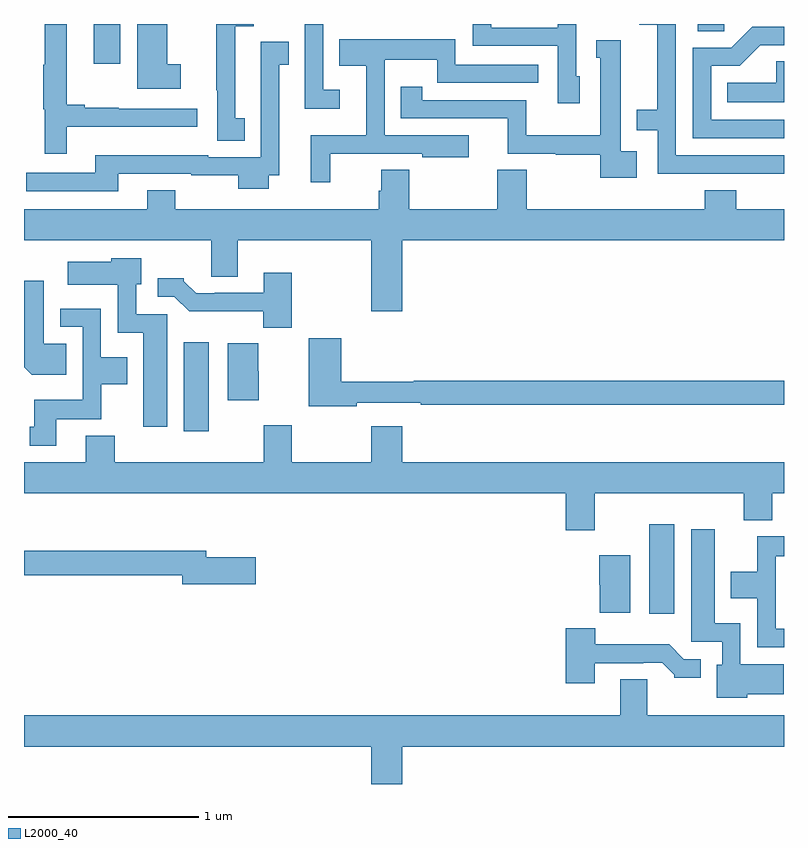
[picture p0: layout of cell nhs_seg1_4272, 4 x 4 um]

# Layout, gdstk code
import gdstk
lib = gdstk.Library(unit=1e-6, precision=1e-09)
def R(c, l, rs):  # rectangles x0, y0, x1, y1
    for r in rs: c.add(gdstk.rectangle(r[:2], r[2:], *l))
def P(c, l, *ps):  # polygons
    for p in ps: c.add(gdstk.Polygon(p, *l))
L2000_40 = (2000, 40)

nhs_seg1_4272 = lib.new_cell('nhs_seg1_4272')
R(nhs_seg1_4272, L2000_40, [(346.292,555.096,346.423,555.565), (343.841,556.056,343.972,556.525), (343.367,557.991,343.507,558.199), (346.547,558.16,346.685,558.199)])
P(nhs_seg1_4272, L2000_40, [(343.825,557.988),(343.753,557.988),(343.753,558.198),(343.735,558.198),(343.735,558.199),(343.595,558.199),(343.595,557.858),(343.825,557.858)],
  [(347,557.508),(346.431,557.508),(346.431,558.199),(346.238,558.199),(346.238,558.195),(346.334,558.195),(346.334,557.749),(346.226,557.749),(346.226,557.64),(346.335,557.64),(346.335,557.412),(346.831,557.412),(346.831,557.411),(347,557.411)],
  [(345.925,557.925),(345.906,557.925),(345.906,558.199),(345.81,558.199),(345.81,558.18),(345.459,558.18),(345.459,558.199),(345.363,558.199),(345.363,558.084),(345.81,558.084),(345.81,557.781),(345.925,557.781)],
  [(344.662,557.854),(344.574,557.854),(344.574,558.199),(344.478,558.199),(344.478,557.753),(344.662,557.753)],
  [(344.162,557.703),(344.113,557.703),(344.113,558.186),(344.209,558.186),(344.209,558.199),(344.011,558.199),(344.011,557.851),(344.016,557.851),(344.016,557.584),(344.162,557.584)],
  [(343.225,557.657),(343.912,557.657),(343.912,557.754),(343.499,557.754),(343.499,557.757),(343.321,557.757),(343.321,557.774),(343.225,557.774),(343.225,558.199),(343.109,558.199),(343.109,557.984),(343.102,557.984),(343.102,557.751),(343.109,557.751),(343.109,557.517),(343.225,557.517)],
  [(347,557.694),(346.617,557.694),(346.617,557.979),(346.767,557.979),(346.875,558.087),(347,558.087),(347,558.185),(346.832,558.185),(346.722,558.075),(346.521,558.075),(346.521,557.598),(347,557.598)],
  [(344.612,557.517),(345.095,557.517),(345.095,557.498),(345.34,557.498),(345.34,557.613),(344.898,557.613),(344.898,558.011),(345.174,558.011),(345.174,557.89),(345.277,557.89),(345.277,557.889),(345.706,557.889),(345.706,557.985),(345.27,557.985),(345.27,558.118),(344.659,558.118),(344.659,557.978),(344.801,557.978),(344.801,557.614),(344.51,557.614),(344.51,557.367),(344.612,557.367)],
  [(346.225,557.53),(346.14,557.53),(346.14,557.626),(346.141,557.626),(346.141,558.114),(346.013,558.114),(346.013,558.021),(346.034,558.021),(346.034,557.614),(345.643,557.614),(345.643,557.799),(345.096,557.799),(345.096,557.869),(344.983,557.869),(344.983,557.703),(345.545,557.703),(345.545,557.517),(345.798,557.517),(345.798,557.512),(346.032,557.512),(346.032,557.39),(346.225,557.39)],
  [(343.495,557.412),(343.881,557.412),(343.881,557.402),(344.128,557.402),(344.128,557.333),(344.287,557.333),(344.287,557.403),(344.344,557.403),(344.344,557.985),(344.393,557.985),(344.393,558.106),(344.246,558.106),(344.246,557.782),(344.247,557.782),(344.247,557.499),(343.971,557.499),(343.971,557.509),(343.376,557.509),(343.376,557.415),(343.012,557.415),(343.012,557.319),(343.495,557.319)],
  [(347,558.002),(346.958,558.002),(346.958,557.89),(346.702,557.89),(346.702,557.786),(347,557.786)],
  [(344.992,557.06),(347,557.06),(347,557.224),(346.748,557.224),(346.748,557.323),(346.583,557.323),(346.583,557.224),(345.645,557.224),(345.645,557.432),(345.49,557.432),(345.49,557.224),(345.027,557.224),(345.027,557.432),(344.879,557.432),(344.879,557.322),(344.867,557.322),(344.867,557.224),(343.797,557.224),(343.797,557.323),(343.649,557.323),(343.649,557.224),(343,557.224),(343,557.06),(343.985,557.06),(343.985,556.87),(344.125,556.87),(344.125,557.06),(344.828,557.06),(344.828,556.686),(344.992,556.686)],
  [(343.753,556.671),(343.59,556.671),(343.59,556.83),(343.618,556.83),(343.618,556.966),(343.458,556.966),(343.458,556.948),(343.23,556.948),(343.23,556.826),(343.494,556.826),(343.494,556.574),(343.628,556.574),(343.628,556.08),(343.753,556.08)],
  [(344.409,556.891),(344.261,556.891),(344.261,556.785),(344.005,556.785),(344.005,556.782),(343.906,556.782),(343.842,556.846),(343.842,556.861),(343.703,556.861),(343.703,556.764),(343.791,556.764),(343.87,556.686),(344.259,556.686),(344.259,556.601),(344.409,556.601)],
  [(343.223,556.516),(343.105,556.516),(343.105,556.849),(343,556.849),(343,556.392),(343.04,556.352),(343.223,556.352)],
  [(343.171,556.118),(343.407,556.118),(343.407,556.304),(343.543,556.304),(343.543,556.444),(343.404,556.444),(343.404,556.701),(343.191,556.701),(343.191,556.605),(343.308,556.605),(343.308,556.222),(343.055,556.222),(343.055,556.08),(343.031,556.08),(343.031,555.978),(343.171,555.978)],
  [(344.752,556.206),(345.088,556.206),(345.088,556.194),(347,556.194),(347,556.322),(345.052,556.322),(345.052,556.315),(344.669,556.315),(344.669,556.546),(344.498,556.546),(344.498,556.186),(344.752,556.186)],
  [(344.236,556.371),(344.234,556.371),(344.234,556.519),(344.072,556.519),(344.072,556.218),(344.236,556.218)],
  [(346.003,555.728),(346.787,555.728),(346.787,555.587),(346.939,555.587),(346.939,555.728),(347,555.728),(347,555.892),(344.992,555.892),(344.992,556.081),(344.828,556.081),(344.828,555.892),(344.409,555.892),(344.409,556.087),(344.261,556.087),(344.261,555.892),(343.478,555.892),(343.478,556.033),(343.325,556.033),(343.325,555.892),(343,555.892),(343,555.728),(345.851,555.728),(345.851,555.534),(346.003,555.534)],
  [(346.806,554.672),(346.999,554.672),(346.999,554.83),(346.77,554.83),(346.77,555.046),(346.636,555.046),(346.636,555.541),(346.511,555.541),(346.511,554.949),(346.674,554.949),(346.674,554.826),(346.646,554.826),(346.646,554.654),(346.806,554.654)],
  [(347,555.015),(346.956,555.015),(346.956,555.398),(347,555.398),(347,555.502),(346.858,555.502),(346.858,555.316),(346.721,555.316),(346.721,555.176),(346.86,555.176),(346.86,554.919),(347,554.919)],
  [(344.221,555.393),(343.96,555.393),(343.96,555.427),(343,555.427),(343,555.298),(343.832,555.298),(343.832,555.251),(344.221,555.251)],
  [(346.192,555.403),(346.028,555.403),(346.028,555.249),(346.03,555.249),(346.03,555.101),(346.192,555.101)],
  [(346.003,554.835),(346.259,554.835),(346.259,554.838),(346.358,554.838),(346.422,554.774),(346.422,554.759),(346.561,554.759),(346.561,554.856),(346.473,554.856),(346.395,554.935),(346.006,554.935),(346.006,555.019),(345.851,555.019),(345.851,554.73),(346.003,554.73)],
  [(344.992,554.396),(347,554.396),(347,554.56),(346.279,554.56),(346.279,554.75),(346.139,554.75),(346.139,554.56),(343,554.56),(343,554.396),(344.828,554.396),(344.828,554.199),(344.992,554.199)])

lib.write_gds('nhs_seg1_4272.gds')
